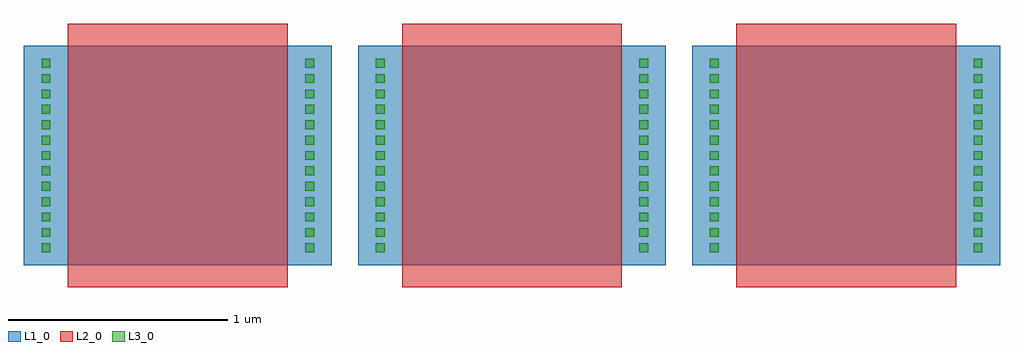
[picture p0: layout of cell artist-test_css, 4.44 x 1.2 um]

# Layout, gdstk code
import gdstk
lib = gdstk.Library(unit=1e-6, precision=5e-09)
def R(c, l, rs):  # rectangles x0, y0, x1, y1
    for r in rs: c.add(gdstk.rectangle(r[:2], r[2:], *l))
def A(c, l, x, y, w, h, nx, ny, dx, dy):  # array of equal rectangles
    R(c, l, [(x+i*dx, y+j*dy, x+i*dx+w, y+j*dy+h) for i in range(nx) for j in range(ny)])
L1_0 = (1, 0)
L2_0 = (2, 0)
L3_0 = (3, 0)

artist_test_css = lib.new_cell('artist-test_css')
A(artist_test_css, L1_0, 0.06, -1, 1.4, 1, 3, 1, 1.52, 0)
A(artist_test_css, L2_0, 0.26, -1.1, 1, 1.2, 3, 1, 1.52, 0)
A(artist_test_css, L3_0, 0.14, -0.94, 0.04, 0.04, 1, 13, 0, 0.07)
A(artist_test_css, L3_0, 1.34, -0.94, 0.04, 0.04, 1, 13, 0, 0.07)
A(artist_test_css, L3_0, 1.66, -0.94, 0.04, 0.04, 1, 13, 0, 0.07)
A(artist_test_css, L3_0, 2.86, -0.94, 0.04, 0.04, 1, 13, 0, 0.07)
A(artist_test_css, L3_0, 3.18, -0.94, 0.04, 0.04, 1, 13, 0, 0.07)
A(artist_test_css, L3_0, 4.38, -0.94, 0.04, 0.04, 1, 13, 0, 0.07)

lib.write_gds('artist-test_css.gds')
